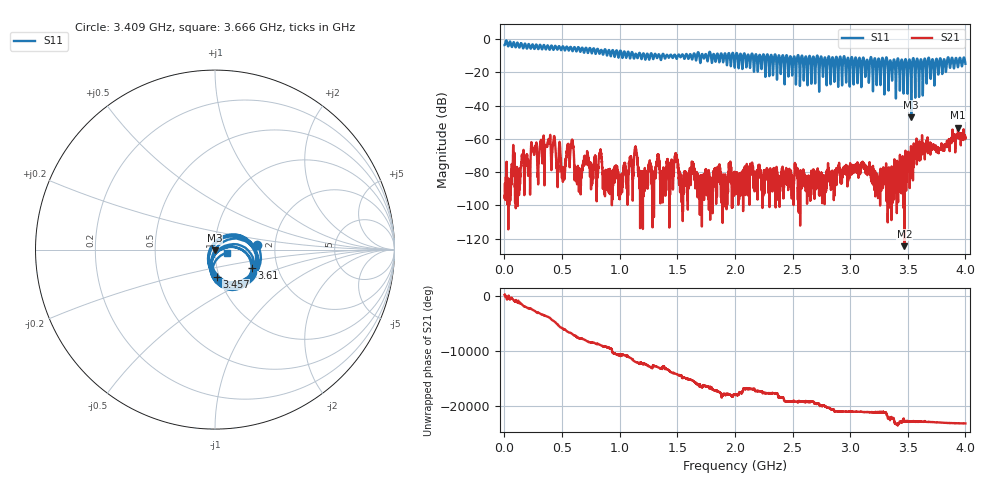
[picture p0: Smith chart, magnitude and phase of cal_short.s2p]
!Created with skrf (http://scikit-rf.org).
# GHz S RI R 50.0
!freq ReS11 ImS11 ReS21 ImS21 ReS12 ImS12 ReS22 ImS22
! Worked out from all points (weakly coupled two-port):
!   4000 points, 1 MHz to 4 GHz, reference 50 ohm
!   highest |S21| = -53.23 dB at 3.936 GHz (marker M1); lowest = -124.5 dB at 3.47 GHz (marker M2)
!   lowest |S11| = -47.1 dB at 3.53 GHz (marker M3), VSWR 1.01, Z = 49.8 - j0.369 ohm
!   |S11| at or under -10 dB: 2.452 GHz to 2.544 GHz (92.35 MHz wide, 3.7 % of centre); 2.583 GHz to 2.712 GHz (128.9 MHz wide, 4.87 % of centre); 2.717 GHz to end of sweep (the widest 3 of 50)
!   S12 and S22 are empty: the file has one direction only
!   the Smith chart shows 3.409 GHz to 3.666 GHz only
!   S11 on the Smith chart (normalised r, x): 3.409 GHz: 1.61, +0.09; 3.457 GHz: 0.97, -0.30; 3.61 GHz: 1.47, -0.32; 3.666 GHz: 1.14, -0.04
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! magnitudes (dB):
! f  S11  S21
! 1 MHz  -3.6  -94.2
! 380 MHz  -4.3  -60.4
! 509 MHz  -4.4  -78.7
! 574 MHz  -4.7  -65.7
! 625 MHz  -7.4  -85.8
! 668 MHz  -5.6  -79.5
! 706 MHz  -5.2  -73.4
! 871 MHz  -6.1  -89.5
! 1.14 GHz  -8.8  -65.5
! 1.186 GHz  -11.6  -86.6
! 1.334 GHz  -9.6  -69.5
! 2.001 GHz  -15.2  -86.4
! 2.667 GHz  -19.2  -80.7
! 3.334 GHz  -27.2  -84.6
! 3.409 GHz  -12.5  -83.5
! 3.457 GHz  -16.4  -84.1
! 3.47 GHz  -17.3  -124.5
! 3.53 GHz  -47.1  -73.6
! 3.61 GHz  -12.8  -72.5
! 3.666 GHz  -23.1  -64.1
! 3.936 GHz  -16.8  -53.2
! 4 GHz  -14.8  -59.3
